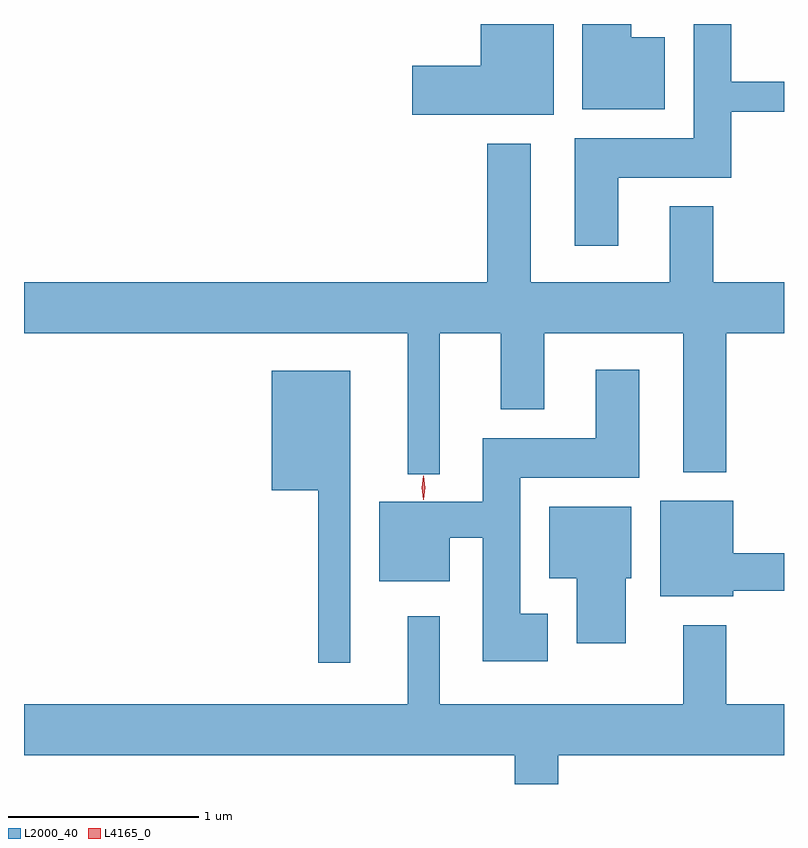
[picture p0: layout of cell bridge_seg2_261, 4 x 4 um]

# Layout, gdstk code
import gdstk
lib = gdstk.Library(unit=1e-6, precision=1e-09)
def P(c, l, *ps):  # polygons
    for p in ps: c.add(gdstk.Polygon(p, *l))
L2000_40 = (2000, 40)
L4165_0 = (4165, 0)

bridge_seg2_261 = lib.new_cell('bridge_seg2_261')
P(bridge_seg2_261, L2000_40, [(573.089,1072.144),(572.706,1072.144),(572.706,1071.924),(572.346,1071.924),(572.346,1071.666),(573.089,1071.666)],
  [(573.429,1071.336),(574.024,1071.336),(574.024,1071.681),(574.302,1071.681),(574.302,1071.839),(574.024,1071.839),(574.024,1072.144),(573.826,1072.144),(573.826,1071.544),(573.201,1071.544),(573.201,1070.976),(573.429,1070.976)],
  [(573.674,1072.074),(573.499,1072.074),(573.499,1072.144),(573.241,1072.144),(573.241,1071.696),(573.674,1071.696)],
  [(572.489,1070.516),(572.811,1070.516),(572.811,1070.116),(573.039,1070.116),(573.039,1070.516),(573.771,1070.516),(573.771,1069.786),(573.999,1069.786),(573.999,1070.516),(574.302,1070.516),(574.302,1070.784),(573.929,1070.784),(573.929,1071.184),(573.701,1071.184),(573.701,1070.784),(572.969,1070.784),(572.969,1071.514),(572.741,1071.514),(572.741,1070.784),(570.302,1070.784),(570.302,1070.516),(572.321,1070.516),(572.321,1069.773),(572.489,1069.773)],
  [(573.059,1069.039),(572.914,1069.039),(572.914,1069.756),(573.539,1069.756),(573.539,1070.324),(573.311,1070.324),(573.311,1069.964),(572.716,1069.964),(572.716,1069.629),(572.171,1069.629),(572.171,1069.211),(572.544,1069.211),(572.544,1069.441),(572.716,1069.441),(572.716,1068.791),(573.059,1068.791)],
  [(572.019,1070.319),(571.606,1070.319),(571.606,1069.691),(571.851,1069.691),(571.851,1068.783),(572.019,1068.783)],
  [(574.034,1069.161),(574.302,1069.161),(574.302,1069.359),(574.034,1069.359),(574.034,1069.634),(573.651,1069.634),(573.651,1069.131),(574.034,1069.131)],
  [(573.469,1069.226),(573.499,1069.226),(573.499,1069.604),(573.066,1069.604),(573.066,1069.226),(573.211,1069.226),(573.211,1068.886),(573.469,1068.886)],
  [(573.114,1068.296),(574.302,1068.296),(574.302,1068.564),(573.999,1068.564),(573.999,1068.979),(573.771,1068.979),(573.771,1068.564),(572.489,1068.564),(572.489,1069.028),(572.321,1069.028),(572.321,1068.564),(570.302,1068.564),(570.302,1068.296),(572.886,1068.296),(572.886,1068.144),(573.114,1068.144)])
P(bridge_seg2_261, L4165_0, [(572.404,1069.639),(572.404,1069.64),(572.395,1069.704),(572.404,1069.767),(572.405,1069.767),(572.405,1069.767),(572.415,1069.703),(572.405,1069.64)])

lib.write_gds('bridge_seg2_261.gds')
